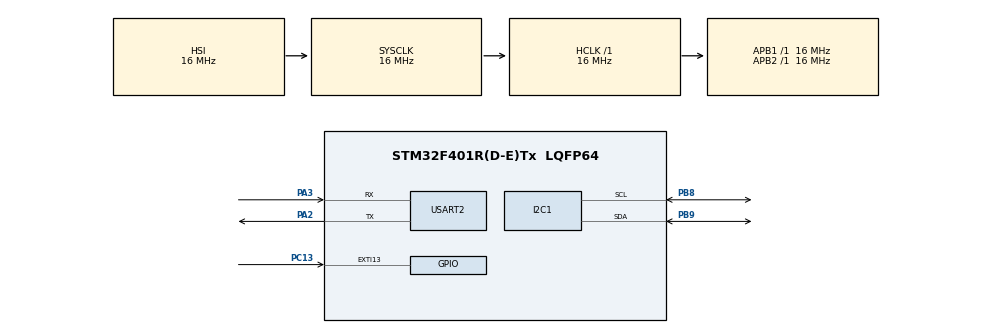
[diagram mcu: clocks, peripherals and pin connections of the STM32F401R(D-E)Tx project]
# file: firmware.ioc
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Mcu.Family=STM32F4
Mcu.Name=STM32F401R(D-E)Tx
Mcu.Package=LQFP64
NVIC.EXTI15_10_IRQn=true\:0\:0\:false\:false\:true\:true\:true\:true
NVIC.PriorityGroup=NVIC_PRIORITYGROUP_4
NVIC.USART2_IRQn=true\:0\:0\:false\:false\:true\:true\:true\:true
PA13.Mode=Serial_Wire
PA13.Signal=SYS_JTMS-SWDIO
PA14.Mode=Serial_Wire
PA14.Signal=SYS_JTCK-SWCLK
PA2.Mode=Asynchronous
PA2.Signal=USART2_TX
PA3.Mode=Asynchronous
PA3.Signal=USART2_RX
PB8.Mode=I2C
PB8.Signal=I2C1_SCL
PB9.Mode=I2C
PB9.Signal=I2C1_SDA
PC13-ANTI_TAMP.Signal=GPXTI13
ProjectManager.HeapSize=0x200
ProjectManager.StackSize=0x400
ProjectManager.TargetToolchain=STM32CubeIDE
RCC.AHBFreq_Value=16000000
RCC.APB1Freq_Value=16000000
RCC.APB2Freq_Value=16000000
RCC.CortexFreq_Value=16000000
RCC.HSE_VALUE=25000000
RCC.HSI_VALUE=16000000
RCC.LSE_VALUE=32768
RCC.SYSCLKFreq_VALUE=16000000
RCC.VCOOutputFreq_Value=192000000
USART2.VirtualMode=VM_ASYNC
board=custom

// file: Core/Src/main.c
/* USER CODE BEGIN Header */
/**
  ******************************************************************************
  * @file           : main.c
  * @brief          : Main program body
  ******************************************************************************
  * @attention
  *
  * Copyright (c) 2026 STMicroelectronics.
  * All rights reserved.
  *
  * This software is licensed under terms that can be found in the LICENSE file
  * in the root directory of this software component.
  * If no LICENSE file comes with this software, it is provided AS-IS.
  *
  ******************************************************************************
  */
/* USER CODE END Header */
#include "main.h"

/* USER CODE BEGIN Includes */
#include "serial_telemetry.h"
#include "display_view.h"
#include "bme688_sensor.h"
#include "apds9960.h"

#include <stdio.h>
#include <string.h>
/* USER CODE END Includes */

/* USER CODE BEGIN PTD */
typedef enum
{
	DISPLAY_PAGE_ENVIRONMENT = 0,
	DISPLAY_PAGE_LIGHT,
	DISPLAY_PAGE_ML
}DisplayPage;

typedef enum
{
    AIR_ML_WAITING = 0,
    AIR_ML_NORMAL,
    AIR_ML_CHANGE
} AirMlStatus;

typedef enum
{
    LIGHT_ML_WAITING = 0,
    LIGHT_ML_DARK,
    LIGHT_ML_DAYLIGHT,
    LIGHT_ML_ARTIFICIAL
} LightMlStatus;

/* USER CODE END PTD */

/* USER CODE BEGIN PD */
#define APDS9960_I2C_ADDRESS       0x39U
#define APDS9960_ID_REGISTER       0x92U
#define APDS9960_EXPECTED_ID       0xABU
#define APDS9960_I2C_TIMEOUT_MS    100U
/* USER CODE END PD */

I2C_HandleTypeDef hi2c1;

UART_HandleTypeDef huart2;

/* USER CODE BEGIN PV */
#define TELEMETRY_MESSAGE_BUFFER_SIZE 128U
#define ML_COMMAND_BUFFER_SIZE 32U

static SerialTelemetryReading telemetryReading =
{
    .temperatureC = 0U,
    .humidityPercent = 0U,
    .pressureHpa = 0U,
    .gasResistanceOhm = 0U,
	.gasValid = 0U,
	.heaterStable = 0U,
    .clearRaw = 0U,
    .redRaw = 0U,
    .greenRaw = 0U,
    .blueRaw = 0U,
    .proximityRaw = 0U
};

static APDS9960Reading apds9960Reading;

static BME688Reading bme688Reading;

static volatile DisplayPage currentPage = DISPLAY_PAGE_ENVIRONMENT;

static uint8_t mlReceiveByte = 0U;
static char mlCommandBuffer[ML_COMMAND_BUFFER_SIZE];

static uint8_t mlCommandLength = 0U;
static volatile AirMlStatus airMlStatus = AIR_ML_WAITING;
static volatile LightMlStatus lightMlStatus = LIGHT_ML_WAITING;

/* USER CODE END PV */

void SystemClock_Config(void);
static void MX_GPIO_Init(void);
static void MX_I2C1_Init(void);
static void MX_USART2_UART_Init(void);
/* USER CODE BEGIN PFP */
static void ProcessMlCommand(const char *command);
static const char *AirMlStatusToText( AirMlStatus status);
static const char *LightMlStatusToText(LightMlStatus status);

/* USER CODE END PFP */

/* USER CODE BEGIN 0 */

static void ProcessMlCommand(const char *command)
{
	if(strcmp(command, "AIR:NORMAL") == 0)
	{
	   airMlStatus = AIR_ML_NORMAL;
	}
	else if(strcmp(command, "AIR:DETECTED ANOMALY") == 0)
	{
	   airMlStatus = AIR_ML_CHANGE;
	}
	else if(strcmp(command, "LIGHT:DARK") == 0)
	{
	   lightMlStatus = LIGHT_ML_DARK;
	}
	else if(strcmp(command, "LIGHT:DAYLIGHT") == 0)
	{
	   lightMlStatus =LIGHT_ML_DAYLIGHT;
	}
	else if(strcmp(command,"LIGHT:ARTIFICIAL") == 0)
    {
	   lightMlStatus = LIGHT_ML_ARTIFICIAL;
	}

}

static const char *AirMlStatusToText( AirMlStatus status)
{
	switch (status)
	{
	   case AIR_ML_NORMAL:
	        return "NORMAL";

	   case AIR_ML_CHANGE:
	        return "ANOMALY";

	   case AIR_ML_WAITING:
	        default: return "WAITING";
	}
}

static const char *LightMlStatusToText(LightMlStatus status)
{
	switch (status)
	{
	   case LIGHT_ML_DARK:
	        return "DARK";

	   case LIGHT_ML_DAYLIGHT:
	        return "DAYLIGHT";

	   case LIGHT_ML_ARTIFICIAL:
	        return "ARTIFICIAL";

	   case LIGHT_ML_WAITING:
	        default:return "WAITING";
	}
}

/* USER CODE END 0 */

int main(void)
{

  /* MCU Configuration--------------------------------------------------------*/

  /* Reset of all peripherals, Initializes the Flash interface and the Systick. */
  HAL_Init();

  /* Configure the system clock */
  SystemClock_Config();

  /* Initialize all configured peripherals */
  MX_GPIO_Init();
  MX_I2C1_Init();
  MX_USART2_UART_Init();
  /* USER CODE BEGIN 2 */
  SerialTelemetry_Init(&huart2);

  if(HAL_UART_Receive_IT(&huart2,&mlReceiveByte,1U) != HAL_OK)
  {
      Error_Handler();
  }

  if (BME688Sensor_Init(&hi2c1) != HAL_OK)
  {
      Error_Handler();
  }

  if (APDS9960Sensor_Init(&hi2c1) != HAL_OK)
  {
      static const uint8_t errorMessage[] =
          "DEBUG,APDS9960_INIT_ERROR\r\n";

      HAL_UART_Transmit(
          &huart2,
          (uint8_t *)errorMessage,
          sizeof(errorMessage) - 1U,
          HAL_MAX_DELAY
      );

      Error_Handler();
  }

  DisplayView_Init();

  DisplayView_ShowStartup();
  HAL_Delay(2000U);

  /* USER CODE END 2 */

  /* Infinite loop */
  while (1)
  {

    /* USER CODE BEGIN 3 */
	if (BME688Sensor_Read(&bme688Reading) != HAL_OK)
	{
	     Error_Handler();
	}

	telemetryReading.temperatureC = bme688Reading.temperatureC;
	telemetryReading.humidityPercent = bme688Reading.humidityPercent;
	telemetryReading.pressureHpa = bme688Reading.pressureHpa;
	telemetryReading.gasResistanceOhm =  bme688Reading.gasResistanceOhm;
	telemetryReading.gasValid = bme688Reading.gasValid;
	telemetryReading.heaterStable = bme688Reading.heaterStable;

	HAL_StatusTypeDef apdsStatus =
	    APDS9960Sensor_Read(&apds9960Reading);

	if (apdsStatus == HAL_OK)
	{
	    telemetryReading.clearRaw =
	        apds9960Reading.clearRaw;

	    telemetryReading.redRaw =
	        apds9960Reading.redRaw;

	    telemetryReading.greenRaw =
	        apds9960Reading.greenRaw;

	    telemetryReading.blueRaw =
	        apds9960Reading.blueRaw;

	    telemetryReading.proximityRaw =
	        apds9960Reading.proximityRaw;
	}
	else if (apdsStatus != HAL_BUSY)
	{
	    Error_Handler();
	}

    if(currentPage == DISPLAY_PAGE_ENVIRONMENT)
    {
    	DisplayView_ShowEnvironment(&telemetryReading);
    }
    else if(currentPage == DISPLAY_PAGE_LIGHT)
    {
    	DisplayView_ShowLight(&telemetryReading);
    }
    else
    {
    	DisplayView_ShowMlStatus(AirMlStatusToText(airMlStatus), LightMlStatusToText(lightMlStatus));
    }

    if (SerialTelemetry_Send(&telemetryReading) != HAL_OK)
    {
    	Error_Handler();
    }
    HAL_Delay(1000U);
  }
  /* USER CODE END 3 */
}

void SystemClock_Config(void)
{
  RCC_OscInitTypeDef RCC_OscInitStruct = {0};
  RCC_ClkInitTypeDef RCC_ClkInitStruct = {0};

  /** Configure the main internal regulator output voltage
  */
  __HAL_RCC_PWR_CLK_ENABLE();
  __HAL_PWR_VOLTAGESCALING_CONFIG(PWR_REGULATOR_VOLTAGE_SCALE2);

  /** Initializes the RCC Oscillators according to the specified parameters
  * in the RCC_OscInitTypeDef structure.
  */
  RCC_OscInitStruct.OscillatorType = RCC_OSCILLATORTYPE_HSI;
  RCC_OscInitStruct.HSIState = RCC_HSI_ON;
  RCC_OscInitStruct.HSICalibrationValue = RCC_HSICALIBRATION_DEFAULT;
  RCC_OscInitStruct.PLL.PLLState = RCC_PLL_NONE;
  if (HAL_RCC_OscConfig(&RCC_OscInitStruct) != HAL_OK)
  {
    Error_Handler();
  }

  /** Initializes the CPU, AHB and APB buses clocks
  */
  RCC_ClkInitStruct.ClockType = RCC_CLOCKTYPE_HCLK|RCC_CLOCKTYPE_SYSCLK
                              |RCC_CLOCKTYPE_PCLK1|RCC_CLOCKTYPE_PCLK2;
  RCC_ClkInitStruct.SYSCLKSource = RCC_SYSCLKSOURCE_HSI;
  RCC_ClkInitStruct.AHBCLKDivider = RCC_SYSCLK_DIV1;
  RCC_ClkInitStruct.APB1CLKDivider = RCC_HCLK_DIV1;
  RCC_ClkInitStruct.APB2CLKDivider = RCC_HCLK_DIV1;

  if (HAL_RCC_ClockConfig(&RCC_ClkInitStruct, FLASH_LATENCY_0) != HAL_OK)
  {
    Error_Handler();
  }
}

static void MX_I2C1_Init(void)
{

  hi2c1.Instance = I2C1;
  hi2c1.Init.ClockSpeed = 100000;
  hi2c1.Init.DutyCycle = I2C_DUTYCYCLE_2;
  hi2c1.Init.OwnAddress1 = 0;
  hi2c1.Init.AddressingMode = I2C_ADDRESSINGMODE_7BIT;
  hi2c1.Init.DualAddressMode = I2C_DUALADDRESS_DISABLE;
  hi2c1.Init.OwnAddress2 = 0;
  hi2c1.Init.GeneralCallMode = I2C_GENERALCALL_DISABLE;
  hi2c1.Init.NoStretchMode = I2C_NOSTRETCH_DISABLE;
  if (HAL_I2C_Init(&hi2c1) != HAL_OK)
  {
    Error_Handler();
  }

}

static void MX_USART2_UART_Init(void)
{

  huart2.Instance = USART2;
  huart2.Init.BaudRate = 115200;
  huart2.Init.WordLength = UART_WORDLENGTH_8B;
  huart2.Init.StopBits = UART_STOPBITS_1;
  huart2.Init.Parity = UART_PARITY_NONE;
  huart2.Init.Mode = UART_MODE_TX_RX;
  huart2.Init.HwFlowCtl = UART_HWCONTROL_NONE;
  huart2.Init.OverSampling = UART_OVERSAMPLING_16;
  if (HAL_UART_Init(&huart2) != HAL_OK)
  {
    Error_Handler();
  }

}

static void MX_GPIO_Init(void)
{
  GPIO_InitTypeDef GPIO_InitStruct = {0};

  /* GPIO Ports Clock Enable */
  __HAL_RCC_GPIOC_CLK_ENABLE();
  __HAL_RCC_GPIOA_CLK_ENABLE();
  __HAL_RCC_GPIOB_CLK_ENABLE();

  /*Configure GPIO pin : PC13 */
  GPIO_InitStruct.Pin = GPIO_PIN_13;
  GPIO_InitStruct.Mode = GPIO_MODE_IT_RISING;
  GPIO_InitStruct.Pull = GPIO_NOPULL;
  HAL_GPIO_Init(GPIOC, &GPIO_InitStruct);

  /* EXTI interrupt init*/
  HAL_NVIC_SetPriority(EXTI15_10_IRQn, 0, 0);
  HAL_NVIC_EnableIRQ(EXTI15_10_IRQn);

}

/* USER CODE BEGIN 4 */
void HAL_GPIO_EXTI_Callback(uint16_t GPIO_Pin)
{
	static uint32_t lastButtonPressMs = 0U;

	if (GPIO_Pin != GPIO_PIN_13)
	{
	        return;
	}

	uint32_t currentTimeMs = HAL_GetTick();

	if ((currentTimeMs - lastButtonPressMs) < 200U)
	{
		 return;
	}

	lastButtonPressMs = currentTimeMs;

	if (currentPage == DISPLAY_PAGE_ENVIRONMENT)
	{
	    currentPage = DISPLAY_PAGE_LIGHT;
	}
	else if(currentPage == DISPLAY_PAGE_LIGHT)
	{
		currentPage = DISPLAY_PAGE_ML;
	}
	else
	{
	    currentPage = DISPLAY_PAGE_ENVIRONMENT;
	}

}

void HAL_UART_RxCpltCallback(UART_HandleTypeDef *huart)
{
	if (huart != &huart2)
	{
	    return;
	}

	if (mlReceiveByte == '\n')
	{
	   mlCommandBuffer[mlCommandLength] = '\0';

	   ProcessMlCommand(mlCommandBuffer);

	   mlCommandLength = 0U;
	}
	else if (mlReceiveByte != '\r')
	{
		if(mlCommandLength < (ML_COMMAND_BUFFER_SIZE - 1U))
		{
			mlCommandBuffer[mlCommandLength] = (char)mlReceiveByte;
			mlCommandLength++;
		}
		else
		{
			mlCommandLength = 0U;
		}

	}

	if(HAL_UART_Receive_IT(&huart2,&mlReceiveByte,1U) != HAL_OK)
	{
		 Error_Handler();
	}
}
/* USER CODE END 4 */

void Error_Handler(void)
{
  __disable_irq();
  while (1)
  {
  }
}
